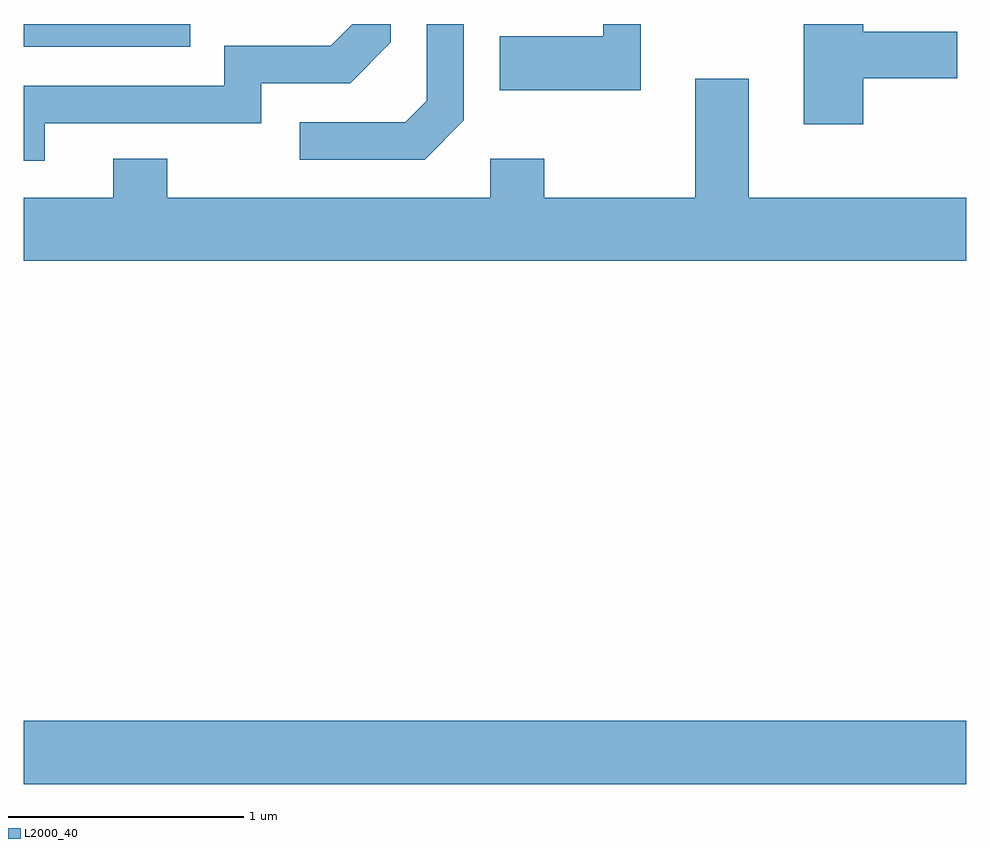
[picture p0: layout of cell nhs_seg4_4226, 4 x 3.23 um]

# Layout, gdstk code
import gdstk
lib = gdstk.Library(unit=1e-6, precision=1e-09)
def R(c, l, rs):  # rectangles x0, y0, x1, y1
    for r in rs: c.add(gdstk.rectangle(r[:2], r[2:], *l))
def P(c, l, *ps):  # polygons
    for p in ps: c.add(gdstk.Polygon(p, *l))
L2000_40 = (2000, 40)

nhs_seg4_4226 = lib.new_cell('nhs_seg4_4226')
R(nhs_seg4_4226, L2000_40, [(309.611,1274.756,313.611,1275.024), (309.611,1277.886,310.318,1277.982)])
P(nhs_seg4_4226, L2000_40, [(312.229,1277.982),(312.071,1277.982),(312.071,1277.929),(311.631,1277.929),(311.631,1277.701),(312.229,1277.701)],
  [(311.479,1277.574),(311.479,1277.982),(311.321,1277.982),(311.321,1277.657),(311.229,1277.564),(310.783,1277.564),(310.783,1277.406),(311.312,1277.406)],
  [(313.174,1277.751),(313.574,1277.751),(313.574,1277.949),(313.174,1277.949),(313.174,1277.982),(312.921,1277.982),(312.921,1277.556),(313.174,1277.556)],
  [(309.699,1277.561),(310.619,1277.561),(310.619,1277.731),(310.997,1277.731),(311.169,1277.904),(311.169,1277.982),(311.006,1277.982),(310.914,1277.889),(310.461,1277.889),(310.461,1277.719),(309.611,1277.719),(309.611,1277.401),(309.699,1277.401)],
  [(313.611,1277.244),(312.689,1277.244),(312.689,1277.749),(312.461,1277.749),(312.461,1277.244),(311.819,1277.244),(311.819,1277.409),(311.591,1277.409),(311.591,1277.244),(310.219,1277.244),(310.219,1277.409),(309.991,1277.409),(309.991,1277.244),(309.611,1277.244),(309.611,1276.976),(313.611,1276.976)])

lib.write_gds('nhs_seg4_4226.gds')
